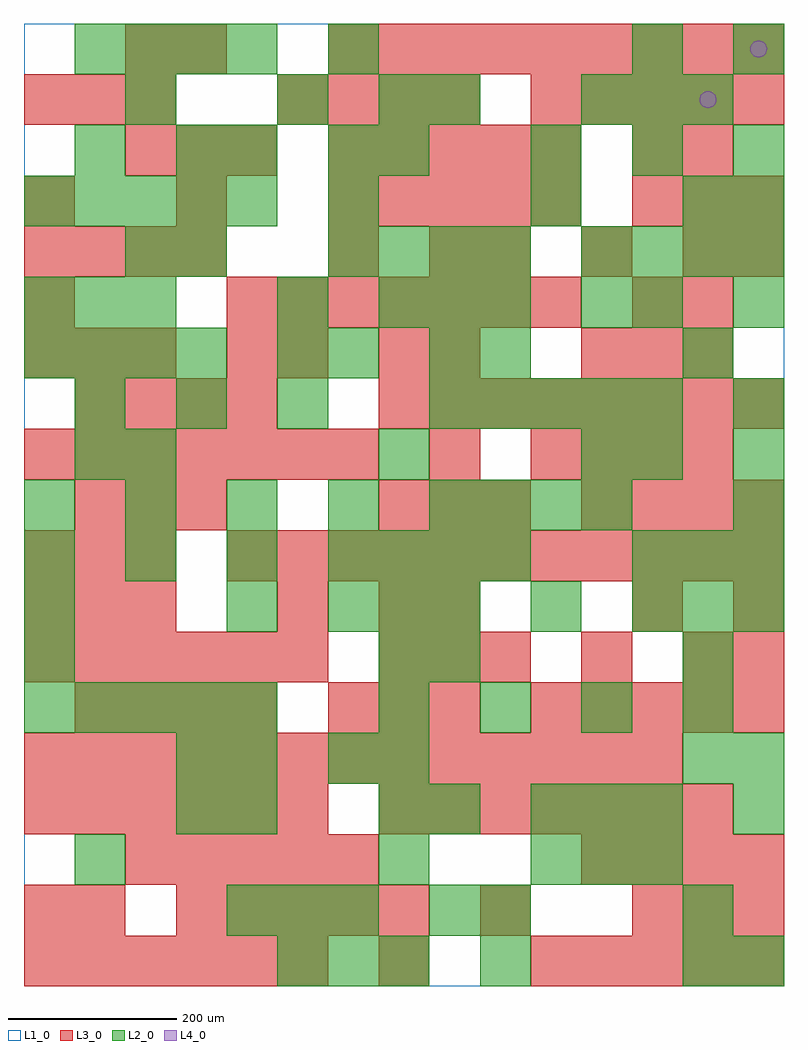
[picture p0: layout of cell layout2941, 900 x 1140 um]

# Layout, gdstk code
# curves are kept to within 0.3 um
import gdstk
lib = gdstk.Library(unit=1e-6, precision=1e-09)
def R(c, l, rs):  # rectangles x0, y0, x1, y1
    for r in rs: c.add(gdstk.rectangle(r[:2], r[2:], *l))
def A(c, l, x, y, w, h, nx, ny, dx, dy):  # array of equal rectangles
    R(c, l, [(x+i*dx, y+j*dy, x+i*dx+w, y+j*dy+h) for i in range(nx) for j in range(ny)])
def P(c, l, *ps):  # polygons
    for p in ps: c.add(gdstk.Polygon(p, *l))
L1_0 = (1, 0)
L2_0 = (2, 0)
L3_0 = (3, 0)
L4_0 = (4, 0)

layout2941 = lib.new_cell('layout2941')
R(layout2941, L1_0, [(0,0,900,1140)])
A(layout2941, L2_0, 300, 0, 60, 60, 3, 1, 60, 0)
A(layout2941, L2_0, 240, 60, 60, 60, 3, 1, 60, 0)
A(layout2941, L2_0, 420, 120, 60, 60, 1, 3, 0, 60)
A(layout2941, L2_0, 600, 120, 60, 60, 3, 2, 60, 60)
A(layout2941, L2_0, 0, 300, 60, 60, 5, 2, 60, 600)
A(layout2941, L2_0, 420, 300, 60, 60, 4, 1, 120, 0)
A(layout2941, L2_0, 360, 420, 60, 60, 3, 1, 60, 0)
A(layout2941, L2_0, 720, 420, 60, 60, 3, 2, 60, 60)
A(layout2941, L2_0, 0, 480, 60, 60, 4, 1, 120, 0)
A(layout2941, L2_0, 420, 480, 60, 60, 3, 2, 60, 300)
A(layout2941, L2_0, 0, 540, 60, 60, 5, 1, 120, 0)
A(layout2941, L2_0, 540, 540, 60, 60, 3, 1, 60, 0)
A(layout2941, L2_0, 840, 540, 60, 60, 1, 3, 0, 60)
A(layout2941, L2_0, 60, 660, 60, 60, 3, 1, 120, 0)
A(layout2941, L2_0, 480, 660, 60, 60, 5, 1, 60, 0)
A(layout2941, L2_0, 0, 720, 60, 60, 4, 1, 60, 0)
A(layout2941, L2_0, 0, 780, 60, 60, 3, 1, 60, 0)
A(layout2941, L2_0, 360, 840, 60, 60, 4, 1, 60, 0)
A(layout2941, L2_0, 660, 840, 60, 60, 4, 1, 60, 0)
A(layout2941, L2_0, 600, 960, 60, 60, 3, 1, 120, 0)
A(layout2941, L2_0, 660, 1020, 60, 60, 3, 1, 60, 0)
A(layout2941, L2_0, 60, 1080, 60, 60, 4, 1, 60, 0)
R(layout2941, L2_0, [(540,0,600,60), (780,0,840,60), (840,0,900,60), (480,60,540,120), (540,60,600,120), (780,60,840,120), (60,120,120,180), (180,180,240,240), (240,180,300,240), (480,180,540,240), (840,180,900,240), (180,240,240,300), (240,240,300,300), (360,240,420,300), (780,240,840,300), (840,240,900,300), (0,360,60,420), (420,360,480,420), (480,360,540,420), (780,360,840,420), (0,420,60,480), (240,420,300,480), (600,420,660,480), (60,600,120,660), (120,600,180,660), (420,600,480,660), (660,600,720,660), (720,600,780,660), (300,720,360,780), (360,720,420,780), (480,720,540,780), (540,720,600,780), (780,720,840,780), (300,780,360,840), (660,780,720,840), (720,780,780,840), (840,780,900,840), (120,840,180,900), (180,840,240,900), (360,900,420,960), (600,900,660,960), (780,900,840,960), (840,900,900,960), (60,960,120,1020), (180,960,240,1020), (240,960,300,1020), (360,960,420,1020), (420,960,480,1020), (120,1020,180,1080), (300,1020,360,1080), (420,1020,480,1080), (480,1020,540,1080), (360,1080,420,1140), (720,1080,780,1140), (840,1080,900,1140)])
A(layout2941, L3_0, 0, 0, 60, 60, 6, 3, 60, 180)
A(layout2941, L3_0, 600, 0, 60, 60, 5, 2, 60, 300)
A(layout2941, L3_0, 180, 60, 60, 60, 5, 1, 60, 0)
A(layout2941, L3_0, 720, 60, 60, 60, 3, 2, 60, 840)
A(layout2941, L3_0, 120, 120, 60, 60, 5, 1, 60, 0)
A(layout2941, L3_0, 660, 120, 60, 60, 4, 2, 60, 420)
A(layout2941, L3_0, 420, 180, 60, 60, 7, 1, 60, 0)
A(layout2941, L3_0, 0, 240, 60, 60, 13, 1, 60, 0)
A(layout2941, L3_0, 60, 300, 60, 60, 4, 2, 60, 360)
A(layout2941, L3_0, 360, 300, 60, 60, 3, 1, 60, 0)
A(layout2941, L3_0, 420, 360, 60, 60, 3, 2, 60, 180)
A(layout2941, L3_0, 0, 420, 60, 60, 3, 2, 60, 60)
A(layout2941, L3_0, 240, 480, 60, 60, 11, 1, 60, 0)
A(layout2941, L3_0, 60, 540, 60, 60, 3, 1, 60, 0)
A(layout2941, L3_0, 0, 600, 60, 60, 7, 1, 60, 0)
A(layout2941, L3_0, 480, 600, 60, 60, 1, 3, 0, 120)
A(layout2941, L3_0, 600, 600, 60, 60, 4, 1, 60, 0)
A(layout2941, L3_0, 420, 660, 60, 60, 8, 1, 60, 0)
A(layout2941, L3_0, 0, 720, 60, 60, 3, 2, 60, 300)
A(layout2941, L3_0, 660, 720, 60, 60, 3, 1, 60, 0)
A(layout2941, L3_0, 240, 780, 60, 60, 7, 1, 60, 0)
A(layout2941, L3_0, 0, 840, 60, 60, 4, 1, 60, 0)
A(layout2941, L3_0, 540, 840, 60, 60, 3, 1, 120, 0)
A(layout2941, L3_0, 0, 900, 60, 60, 3, 1, 180, 0)
A(layout2941, L3_0, 420, 900, 60, 60, 4, 1, 60, 0)
A(layout2941, L3_0, 120, 960, 60, 60, 3, 1, 60, 0)
A(layout2941, L3_0, 360, 960, 60, 60, 5, 1, 60, 0)
A(layout2941, L3_0, 300, 1020, 60, 60, 4, 1, 60, 0)
A(layout2941, L3_0, 600, 1020, 60, 60, 5, 1, 60, 0)
A(layout2941, L3_0, 360, 1080, 60, 60, 9, 1, 60, 0)
R(layout2941, L3_0, [(420,0,480,60), (0,60,60,120), (60,60,120,120), (540,60,600,120), (660,360,720,420), (780,360,840,420), (840,360,900,420), (300,420,360,480), (420,420,480,480), (480,420,540,480), (720,420,780,480), (840,420,900,480), (240,720,300,780), (300,720,360,780), (420,720,480,780), (0,780,60,840), (720,780,780,840), (780,780,840,840), (360,840,420,900), (840,840,900,900), (720,960,780,1020), (780,960,840,1020), (120,1080,180,1140), (180,1080,240,1140)])
P(layout2941, L4_0, [(820,1050),(819.239,1053.827),(817.071,1057.071),(813.827,1059.239),(810,1060),(806.173,1059.239),(802.929,1057.071),(800.761,1053.827),(800,1050),(800.761,1046.173),(802.929,1042.929),(806.173,1040.761),(810,1040),(813.827,1040.761),(817.071,1042.929),(819.239,1046.173)],
  [(880,1110),(879.239,1113.827),(877.071,1117.071),(873.827,1119.239),(870,1120),(866.173,1119.239),(862.929,1117.071),(860.761,1113.827),(860,1110),(860.761,1106.173),(862.929,1102.929),(866.173,1100.761),(870,1100),(873.827,1100.761),(877.071,1102.929),(879.239,1106.173)])

lib.write_gds('layout2941.gds')
